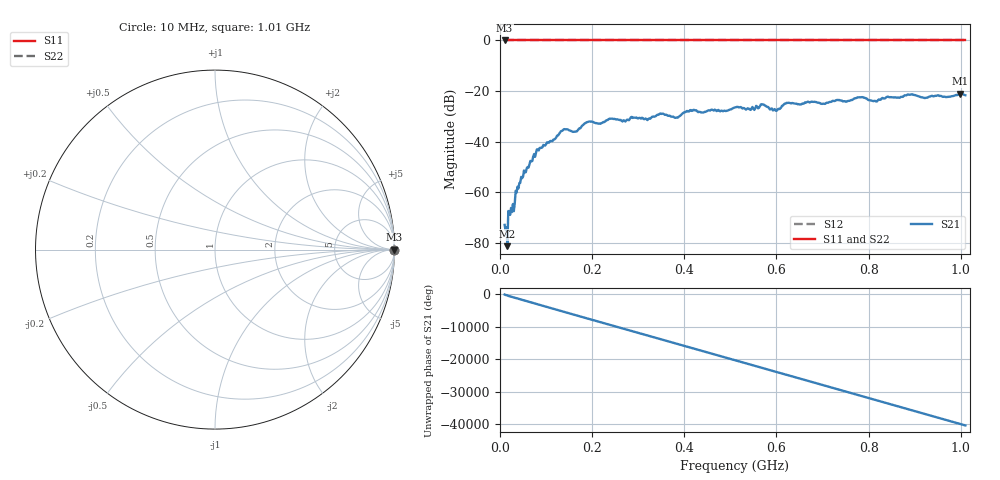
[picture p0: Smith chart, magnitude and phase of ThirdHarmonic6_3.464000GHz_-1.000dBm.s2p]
! 8/17/2025 11:13:30 AM
! C:\ANRITSUVNA\TEMP\TEMP.S2P
! CHANNEL.1
! TR.MEASUREMENT
! RAW.DATA
! RF.CORRECTION.OFF
! AVERAGING.OFF
! IF.BANDWIDTH: 5KHZ
! SWEEPTYPE:  FREQ.SWEEP(Linear)
! Reference Plane Port Info
! PORT:  PORT1  PORT2
! DISTANCE:  0  m  0  m
! TIME:  0  s  0  s
! PHASE.OFFSET:  0  deg.  0  deg.
! LOSS:  0  dB  0  dB
! REF.LOSS:  0  dB  0  dB
! REF.FREQ:  0  Hz  0  Hz
! Power Info
! POWER:  -20  dBm  -20  dBm
! EFF.POWER:  -20  dBm  -20  dBm
! SOURCE.ATTEN:  0  dB  0  dB
! TEST.ATTEN:  0  dB  0  dB
# GHZ S RI R 50.0
! FREQ.GHZ  S11RE  S11IM  S21RE  S21IM  S12RE  S12IM  S22RE  S22IM
!; PortSelection: Port_12
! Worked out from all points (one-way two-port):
!   501 points, 10 MHz to 1.01 GHz, reference 50 ohm
!   highest |S21| = -21.01 dB at 998 MHz (marker M1); lowest = -81.3 dB at 16 MHz (marker M2)
!   lowest |S11| = 0.0 dB at 10 MHz (marker M3)
!   |S11| at or under -10 dB: nowhere
!   |S22| runs from 0.0 to 0.0 dB; largest |S21 - S12| = 1.1
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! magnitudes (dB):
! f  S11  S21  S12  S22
! 10 MHz  0.0  -72.9  0.0  0.0
! 12 MHz  0.0  -74.9  0.0  0.0
! 16 MHz  0.0  -81.3  0.0  0.0
! 22 MHz  0.0  -69.0  0.0  0.0
! 28 MHz  0.0  -64.7  0.0  0.0
! 42 MHz  0.0  -56.4  0.0  0.0
! 82 MHz  0.0  -43.1  0.0  0.0
! 136 MHz  0.0  -35.6  0.0  0.0
! 162 MHz  0.0  -36.1  0.0  0.0
! 178 MHz  0.0  -33.7  0.0  0.0
! 192 MHz  0.0  -32.1  0.0  0.0
! 344 MHz  0.0  -29.4  0.0  0.0
! 382 MHz  0.0  -30.6  0.0  0.0
! 416 MHz  0.0  -27.8  0.0  0.0
! 510 MHz  0.0  -26.5  0.0  0.0
! 570 MHz  0.0  -25.3  0.0  0.0
! 596 MHz  0.0  -27.1  0.0  0.0
! 622 MHz  0.0  -24.7  0.0  0.0
! 678 MHz  0.0  -24.2  0.0  0.0
! 844 MHz  0.0  -22.4  0.0  0.0
! 998 MHz  0.0  -21.0  0.0  0.0
! 1.01 GHz  0.0  -21.7  0.0  0.0
